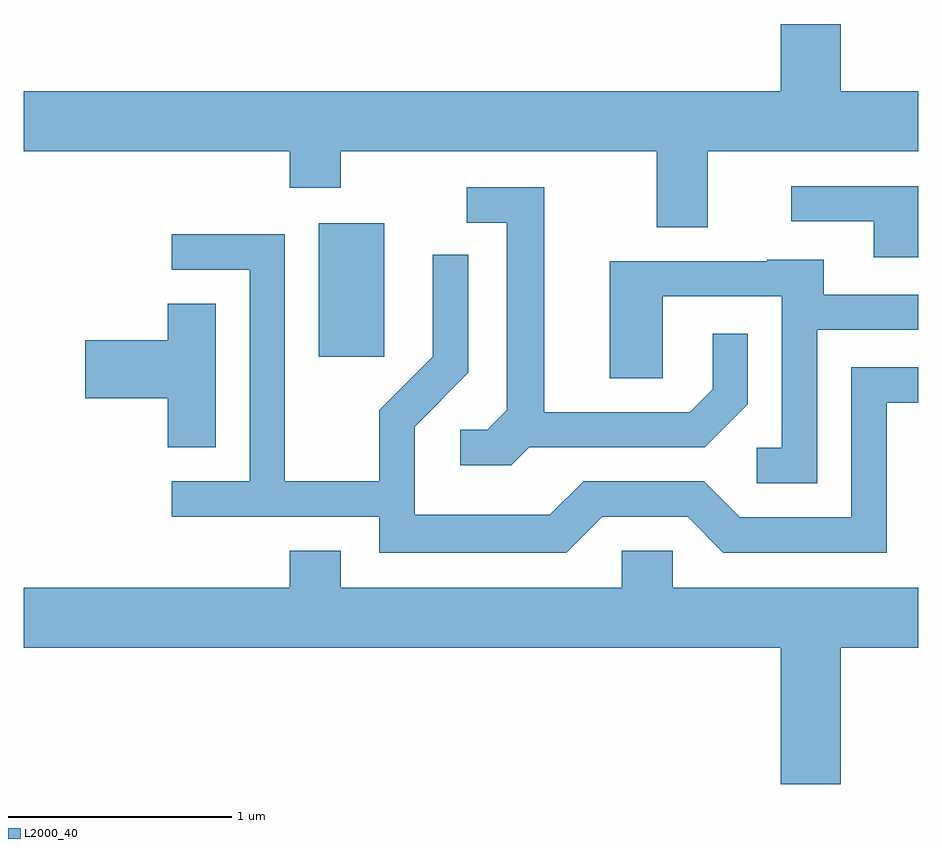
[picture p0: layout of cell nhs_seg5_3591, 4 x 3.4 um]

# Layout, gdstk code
import gdstk
lib = gdstk.Library(unit=1e-6, precision=1e-09)
def R(c, l, rs):  # rectangles x0, y0, x1, y1
    for r in rs: c.add(gdstk.rectangle(r[:2], r[2:], *l))
def P(c, l, *ps):  # polygons
    for p in ps: c.add(gdstk.Polygon(p, *l))
L2000_40 = (2000, 40)

nhs_seg5_3591 = lib.new_cell('nhs_seg5_3591')
R(nhs_seg5_3591, L2000_40, [(292.931,1462.536,293.224,1463.134)])
P(nhs_seg5_3591, L2000_40, [(294.669,1463.456),(295.611,1463.456),(295.611,1463.724),(295.264,1463.724),(295.264,1464.024),(294.996,1464.024),(294.996,1463.724),(291.611,1463.724),(291.611,1463.456),(292.801,1463.456),(292.801,1463.291),(293.029,1463.291),(293.029,1463.456),(294.441,1463.456),(294.441,1463.116),(294.669,1463.116)],
  [(295.611,1463.299),(295.043,1463.299),(295.043,1463.141),(295.411,1463.141),(295.411,1462.981),(295.611,1462.981)],
  [(293.872,1462.131),(294.657,1462.131),(294.849,1462.324),(294.849,1462.638),(294.691,1462.638),(294.691,1462.392),(294.589,1462.289),(293.939,1462.289),(293.939,1463.294),(293.593,1463.294),(293.593,1463.136),(293.771,1463.136),(293.771,1462.297),(293.684,1462.209),(293.563,1462.209),(293.563,1462.051),(293.792,1462.051)],
  [(294.197,1461.821),(294.579,1461.821),(294.739,1461.661),(295.469,1461.661),(295.469,1462.331),(295.611,1462.331),(295.611,1462.489),(295.311,1462.489),(295.311,1461.819),(294.812,1461.819),(294.652,1461.979),(294.114,1461.979),(293.964,1461.829),(293.359,1461.829),(293.359,1462.224),(293.599,1462.464),(293.599,1462.993),(293.441,1462.993),(293.441,1462.537),(293.201,1462.297),(293.201,1461.979),(292.779,1461.979),(292.779,1463.084),(292.273,1463.084),(292.273,1462.926),(292.621,1462.926),(292.621,1461.979),(292.273,1461.979),(292.273,1461.821),(293.201,1461.821),(293.201,1461.661),(294.037,1461.661)],
  [(295.159,1462.656),(295.611,1462.656),(295.611,1462.814),(295.189,1462.814),(295.189,1462.969),(294.935,1462.969),(294.935,1462.964),(294.231,1462.964),(294.231,1462.441),(294.469,1462.441),(294.469,1462.806),(295.001,1462.806),(295.001,1462.129),(294.888,1462.129),(294.888,1461.971),(295.159,1461.971)],
  [(292.469,1462.774),(292.256,1462.774),(292.256,1462.609),(291.886,1462.609),(291.886,1462.351),(292.256,1462.351),(292.256,1462.131),(292.469,1462.131)],
  [(295.264,1461.236),(295.611,1461.236),(295.611,1461.504),(294.514,1461.504),(294.514,1461.669),(294.286,1461.669),(294.286,1461.504),(293.029,1461.504),(293.029,1461.669),(292.801,1461.669),(292.801,1461.504),(291.611,1461.504),(291.611,1461.236),(294.996,1461.236),(294.996,1460.626),(295.264,1460.626)])

lib.write_gds('nhs_seg5_3591.gds')
